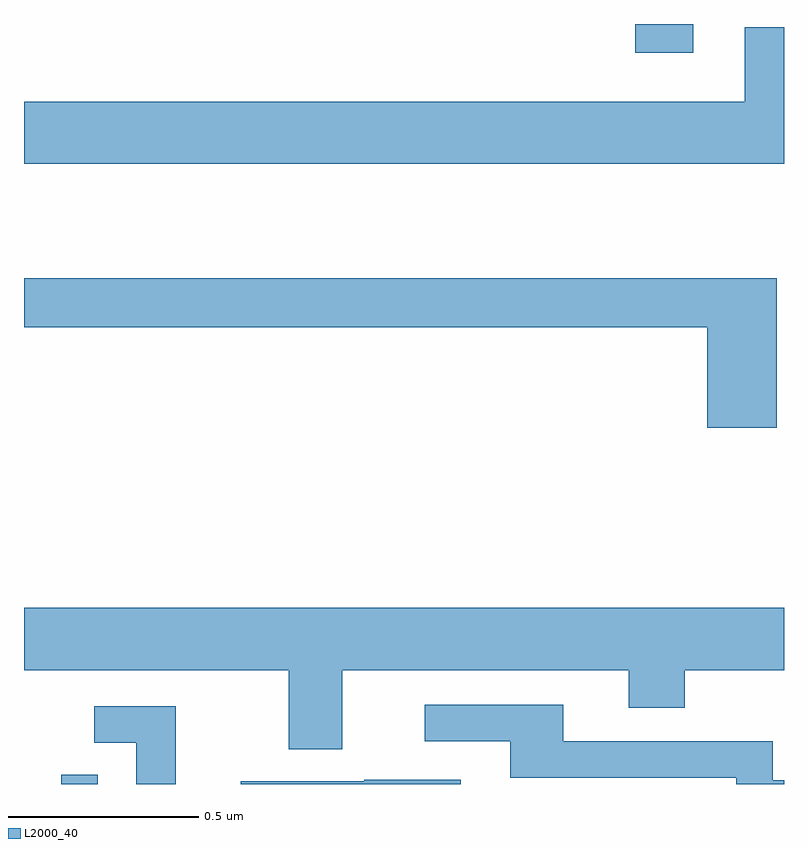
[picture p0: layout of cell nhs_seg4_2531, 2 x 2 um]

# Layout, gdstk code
import gdstk
lib = gdstk.Library(unit=1e-6, precision=1e-09)
def R(c, l, rs):  # rectangles x0, y0, x1, y1
    for r in rs: c.add(gdstk.rectangle(r[:2], r[2:], *l))
def P(c, l, *ps):  # polygons
    for p in ps: c.add(gdstk.Polygon(p, *l))
L2000_40 = (2000, 40)

nhs_seg4_2531 = lib.new_cell('nhs_seg4_2531')
R(nhs_seg4_2531, L2000_40, [(142.098,749.9,142.194,749.924), (143.609,751.824,143.761,751.9)])
P(nhs_seg4_2531, L2000_40, [(144,751.891),(143.897,751.891),(143.897,751.696),(142,751.696),(142,751.532),(144,751.532)],
  [(143.981,751.231),(142,751.231),(142,751.102),(143.798,751.102),(143.798,750.837),(143.981,750.837)],
  [(142,750.2),(142.697,750.2),(142.697,749.992),(142.837,749.992),(142.837,750.2),(143.591,750.2),(143.591,750.101),(143.739,750.101),(143.739,750.2),(144,750.2),(144,750.364),(142,750.364)],
  [(144,749.91),(143.97,749.91),(143.97,750.012),(143.419,750.012),(143.419,750.108),(143.055,750.108),(143.055,750.012),(143.279,750.012),(143.279,749.916),(143.874,749.916),(143.874,749.9),(144,749.9)],
  [(142.399,750.105),(142.185,750.105),(142.185,750.009),(142.295,750.009),(142.295,749.9),(142.399,749.9)],
  [(143.149,749.911),(142.895,749.911),(142.895,749.907),(142.571,749.907),(142.571,749.9),(143.149,749.9)])

lib.write_gds('nhs_seg4_2531.gds')
